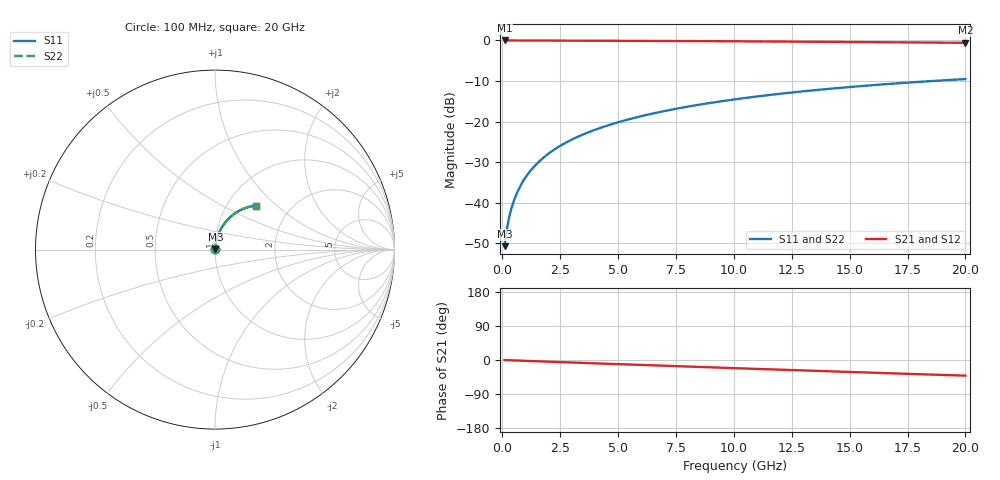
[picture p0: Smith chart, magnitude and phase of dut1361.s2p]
! Touchstone file exported from HFSS 2026.1.0
!  File:  C:/ffzhzh/LocalFiles/Ansys_Project_Files/temp_train_BSMRDL_1361_1783179189_43440.aedt
!  Generated:  11:34:27 PM Jul  4, 2026
!  Design:  BSMRDL
!  Project:  temp_train_BSMRDL_1361_1783179189_43440
! Variables:
!  h_bsmrdl = 4.59um
!  h_ox = 20um
!  h_rdl = 5um
!  h_sub = 80um
!  h_tmrdl = 5um
!  h_tsv = 80um
!  h_via = 3um
!  l_bsmrdl = 621.25um
!  l_sub = 1021.25um
!  l_tmrdl = 200um
!  m_sub = 200um
!  pitch = 56.28um
!  r_tsv = 6um
!  s_tmrdl = 10um
!  w_bsmrdl = 29.63um
!  w_sub = 500um
!  w_tmrdl = 12um
!  x_tsv_center1 = 206um
!  x_tsv_center2 = 856.88um
!  x_tsv_center3 = 1068.88um
!  x_tsv_center4 = 1719.76um
!  x_tsv_center5 = 1931.76um
!  x_tsv_center6 = 2582.64um
# GHz S MA R 50.000000
! Terminal data exported
! Port[1] = BSM_RDL1_1_T1
! Port[2] = BSM_RDL1_1_T2
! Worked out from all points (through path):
!   200 points, 100 MHz to 20 GHz, reference 50 ohm
!   highest |S21| = -0.02 dB at 100 MHz (marker M1); lowest = -0.6 dB at 20 GHz (marker M2)
!   group delay of S21, straight-line fit = 5.74 ps
!   lowest |S11| = -50.7 dB at 100 MHz (marker M3), VSWR 1.01, Z = 50.2 + j0.224 ohm
!   |S11| at or under -10 dB: start of sweep to 18.6 GHz
!   |S22| runs from -50.7 to -9.5 dB; largest |S21 - S12| = 3.5e-15
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0.1  0.002911 50.1  0.9981 -0.2  0.9981 -0.2  0.002911 50.1
! Gamma 0 0 0 0
! Port Impedance 50 0 50 0
0.2  0.004777 64.4  0.998 -0.5  0.998 -0.5  0.004778 64.4
0.3  0.006683 70.6  0.9978 -0.7  0.9978 -0.7  0.006683 70.6
0.4  0.008607 74.1  0.9977 -0.9  0.9977 -0.9  0.008607 74.1
0.5  0.01055 76.4  0.9977 -1.1  0.9977 -1.1  0.01055 76.4
0.7  0.01448 79.1  0.9975 -1.6  0.9975 -1.6  0.01448 79.1
0.8  0.01646 79.9  0.9975 -1.8  0.9975 -1.8  0.01646 79.9
1  0.02043 80.9  0.9973 -2.2  0.9973 -2.2  0.02043 80.9
1.2  0.02441 81.4  0.9972 -2.7  0.9972 -2.7  0.02441 81.4
1.4  0.02839 81.6  0.997 -3.1  0.997 -3.1  0.02839 81.6
1.7  0.03434 81.6  0.9966 -3.8  0.9966 -3.8  0.03434 81.6
2  0.04028 81.4  0.9963 -4.4  0.9963 -4.4  0.04028 81.4
2.7  0.05402 80.5  0.9952 -6.0  0.9952 -6.0  0.05402 80.5
3.5  0.0695 79.1  0.9937 -7.7  0.9937 -7.7  0.0695 79.1
4.2  0.08285 77.8  0.9922 -9.2  0.9922 -9.2  0.08285 77.8
5  0.0979 76.3  0.9904 -10.9  0.9904 -10.9  0.0979 76.3
6.8  0.131 72.7  0.9856 -14.8  0.9856 -14.8  0.131 72.7
8.3  0.1577 69.8  0.9811 -17.9  0.9811 -17.9  0.1577 69.8
10.1  0.1886 66.2  0.975 -21.7  0.975 -21.7  0.1886 66.2
13.4  0.242 59.7  0.9623 -28.4  0.9623 -28.4  0.242 59.7
16.7  0.2906 53.4  0.9483 -35.0  0.9483 -35.0  0.2906 53.4
20  0.3338 47.2  0.9336 -41.3  0.9336 -41.3  0.3338 47.2
